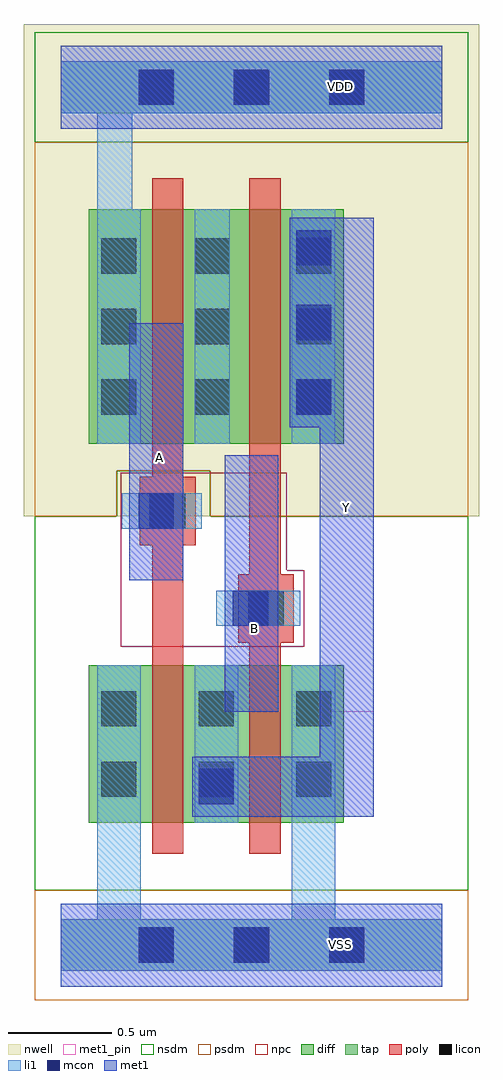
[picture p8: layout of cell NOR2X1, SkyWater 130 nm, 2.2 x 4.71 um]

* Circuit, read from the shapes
.subckt NOR2X1 A B VDD VSS Y
XM1 Y A VSS VSS sky130_fd_pr__nfet_01v8 w=0.76 l=0.15
XM2 VSS B Y VSS sky130_fd_pr__nfet_01v8 w=0.76 l=0.15
XM3 n1 A VDD VDD sky130_fd_pr__pfet_01v8 w=1.13 l=0.15
XM4 Y B n1 VDD sky130_fd_pr__pfet_01v8 w=1.13 l=0.15
.ends

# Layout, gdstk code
from math import pi, radians
import gdstk
lib = gdstk.Library(unit=1e-6, precision=1e-09)
def R(c, l, rs):  # rectangles x0, y0, x1, y1
    for r in rs: c.add(gdstk.rectangle(r[:2], r[2:], *l))
def A(c, l, x, y, w, h, nx, ny, dx, dy):  # array of equal rectangles
    R(c, l, [(x+i*dx, y+j*dy, x+i*dx+w, y+j*dy+h) for i in range(nx) for j in range(ny)])
def P(c, l, *ps):  # polygons
    for p in ps: c.add(gdstk.Polygon(p, *l))
nwell = (64, 20)
diff = (65, 20)
tap = (65, 44)
poly = (66, 20)
licon = (66, 44)
li1 = (67, 20)
mcon = (67, 44)
met1_pin = (68, 16)
met1 = (68, 20)
nsdm = (93, 44)
psdm = (94, 20)
npc = (95, 20)

nfet_01v8_cdns_716492285 = lib.new_cell('nfet_01v8_CDNS_71649228522161')
R(nfet_01v8_cdns_716492285, diff, [(-0.305,0,0,0.76), (0,0,0.15,0.76), (0.15,0,0.415,0.76)])
R(nfet_01v8_cdns_716492285, poly, [(0,-0.15,0.15,-0.095), (0,-0.095,0.15,0), (0,0,0.15,0.76), (0,0.76,0.15,0.855), (0,0.855,0.15,0.91)])
R(nfet_01v8_cdns_716492285, licon, [(-0.245,0.125,-0.075,0.295), (0.225,0.125,0.395,0.295), (-0.245,0.465,-0.075,0.635), (0.225,0.465,0.395,0.635)])
R(nfet_01v8_cdns_716492285, li1, [(-0.265,0,-0.055,0.76), (0.205,0,0.415,0.76)])
R(nfet_01v8_cdns_716492285, nsdm, [(-0.445,-0.13,0.425,0.89)])

pfet_01v8_cdns_716492285 = lib.new_cell('pfet_01v8_CDNS_71649228522162')
R(pfet_01v8_cdns_716492285, nwell, [(-0.235,-0.18,0.635,1.31)])
R(pfet_01v8_cdns_716492285, diff, [(-0.055,0,0,1.13), (0,0,0.15,1.13), (0.15,0,0.455,1.13)])
R(pfet_01v8_cdns_716492285, poly, [(0,-0.15,0.15,-0.095), (0,-0.095,0.15,0), (0,0,0.15,1.13), (0,1.13,0.15,1.225), (0,1.225,0.15,1.28)])
A(pfet_01v8_cdns_716492285, licon, 0.225, 0.14, 0.17, 0.17, 1, 3, 0, 0.34)
R(pfet_01v8_cdns_716492285, li1, [(0.205,0,0.415,1.13)])
R(pfet_01v8_cdns_716492285, psdm, [(-0.065,-0.13,0.595,1.26)])

c_nfet_01v8_cdns_716492285 = lib.new_cell('nfet_01v8_CDNS_71649228522163')
R(c_nfet_01v8_cdns_716492285, diff, [(-0.305,0,0,0.76), (0,0,0.15,0.76), (0.15,0,0.205,0.76)])
R(c_nfet_01v8_cdns_716492285, poly, [(0,-0.15,0.15,-0.095), (0,-0.095,0.15,0), (0,0,0.15,0.76), (0,0.76,0.15,0.855), (0,0.855,0.15,0.91)])
R(c_nfet_01v8_cdns_716492285, licon, [(-0.245,0.125,-0.075,0.295), (-0.245,0.465,-0.075,0.635)])
R(c_nfet_01v8_cdns_716492285, li1, [(-0.265,0,-0.055,0.76)])
R(c_nfet_01v8_cdns_716492285, nsdm, [(-0.445,-0.13,0.215,0.89)])

c_pfet_01v8_cdns_716492285 = lib.new_cell('pfet_01v8_CDNS_71649228522164')
R(c_pfet_01v8_cdns_716492285, nwell, [(-0.485,-0.18,0.595,1.31)])
R(c_pfet_01v8_cdns_716492285, diff, [(-0.305,0,0,1.13), (0,0,0.15,1.13), (0.15,0,0.415,1.13)])
R(c_pfet_01v8_cdns_716492285, poly, [(0,-0.15,0.15,-0.095), (0,-0.095,0.15,0), (0,0,0.15,1.13), (0,1.13,0.15,1.225), (0,1.225,0.15,1.28)])
A(c_pfet_01v8_cdns_716492285, licon, -0.245, 0.14, 0.17, 0.17, 1, 3, 0, 0.34)
R(c_pfet_01v8_cdns_716492285, li1, [(-0.265,0,-0.055,1.13)])
R(c_pfet_01v8_cdns_716492285, psdm, [(-0.445,-0.13,0.425,1.26)])

l1m1_c_cdns_716492285224 = lib.new_cell('L1M1_C_CDNS_716492285224')
R(l1m1_c_cdns_716492285224, li1, [(-0.085,-0.525,0.085,0.525)])
A(l1m1_c_cdns_716492285224, mcon, -0.085, -0.445, 0.17, 0.17, 1, 3, 0, 0.36)
R(l1m1_c_cdns_716492285224, met1, [(-0.115,-0.505,0.115,0.505)])

l1m1_c_cdns_716492285222 = lib.new_cell('L1M1_C_CDNS_716492285222')
R(l1m1_c_cdns_716492285222, li1, [(-0.085,-0.165,0.085,0.165)])
R(l1m1_c_cdns_716492285222, mcon, [(-0.085,-0.085,0.085,0.085)])
R(l1m1_c_cdns_716492285222, met1, [(-0.115,-0.145,0.115,0.145)])

pyl1con_c_cdns_716492285 = lib.new_cell('PYL1CON_C_CDNS_716492285220')
R(pyl1con_c_cdns_716492285, poly, [(-0.135,-0.165,0.135,0.165)])
R(pyl1con_c_cdns_716492285, licon, [(-0.085,-0.085,0.085,0.085)])
R(pyl1con_c_cdns_716492285, npc, [(-0.185,-0.185,0.185,0.185)])

l1m1_c_cdns_716492285223 = lib.new_cell('L1M1_C_CDNS_716492285223')
R(l1m1_c_cdns_716492285223, li1, [(-0.165,-0.085,0.165,0.085)])
R(l1m1_c_cdns_716492285223, mcon, [(-0.085,-0.085,0.085,0.085)])
R(l1m1_c_cdns_716492285223, met1, [(-0.115,-0.145,0.115,0.145)])

licondiff_c_cdns_7164922 = lib.new_cell('LICONDIFF_C_CDNS_7164922852213')
R(licondiff_c_cdns_7164922, diff, [(-0.125,-0.145,0.125,0.145)])
R(licondiff_c_cdns_7164922, licon, [(-0.085,-0.085,0.085,0.085), (-0.085,-0.085,0.085,0.085)])

nor2x1 = lib.new_cell('NOR2X1')
R(nor2x1, nwell, [(-0.18,2.07,2.02,4.305), (-0.18,3.875,2.02,4.445)])
A(nor2x1, licon, 0.375, -0.085, 0.17, 0.17, 3, 2, 0.46, 4.14)
A(nor2x1, mcon, 0.375, -0.085, 0.17, 0.17, 3, 2, 0.46, 4.14)
R(nor2x1, met1_pin, [(0.79,1.125,1.05,2.365), (1.25,1.125,1.51,2.365), (0.33,1.76,0.59,3)])
R(nor2x1, nsdm, [(-0.125,3.875,1.965,4.405), (-0.125,3.93,1.965,4.35)])
P(nor2x1, nsdm, [(1.965,2.07),(0.72,2.07),(0.72,2.29),(0.27,2.29),(0.27,2.07),(-0.125,2.07),(-0.125,0.265),(1.965,0.265)])
R(nor2x1, psdm, [(-0.125,-0.265,1.965,0.265), (-0.125,-0.21,1.965,0.21)])
P(nor2x1, psdm, [(1.965,3.875),(-0.125,3.875),(-0.125,2.07),(0.27,2.07),(0.27,2.29),(0.72,2.29),(0.72,2.07),(1.965,2.07)])
R(nor2x1, npc, [(0.29,1.44,1.09,2.28)])
nor2x1.add(gdstk.FlexPath([(0.515,2.27),(0.515,1.5)], 0.15, ends="flush", simple_path=True, layer=66, datatype=20))  # poly
nor2x1.add(gdstk.FlexPath([(0.985,2.27),(0.985,1.5)], 0.15, ends="flush", simple_path=True, layer=66, datatype=20))  # poly
nor2x1.add(gdstk.FlexPath([(0.73,2.42),(0.73,3.55)], 0.17, ends="flush", simple_path=True, layer=67, datatype=20))  # li1
nor2x1.add(gdstk.FlexPath([(0.46,2.095),(0.68,2.095)], 0.17, ends="flush", simple_path=True, layer=67, datatype=20))  # li1
nor2x1.add(gdstk.FlexPath([(0.28,0.59),(0.28,0)], 0.21, ends="flush", simple_path=True, layer=67, datatype=20))  # li1
nor2x1.add(gdstk.FlexPath([(0,0),(1.84,0)], 0.25, ends="flush", simple_path=True, layer=67, datatype=20))  # li1
nor2x1.add(gdstk.FlexPath([(0.915,1.625),(1.155,1.625)], 0.17, ends="flush", simple_path=True, layer=67, datatype=20))  # li1
nor2x1.add(gdstk.FlexPath([(1.22,0.59),(1.22,0)], 0.21, ends="flush", simple_path=True, layer=67, datatype=20))  # li1
nor2x1.add(gdstk.FlexPath([(0.26,3.55),(0.26,4.14)], 0.17, ends=(0, 0.125), simple_path=True, layer=67, datatype=20))  # li1
nor2x1.add(gdstk.FlexPath([(0,4.14),(1.84,4.14)], 0.25, ends="flush", simple_path=True, layer=67, datatype=20))  # li1
nor2x1.add(gdstk.FlexPath([(0.46,1.76),(0.46,3)], 0.26, ends="flush", simple_path=True, layer=68, datatype=20))  # met1
nor2x1.add(gdstk.FlexPath([(1.38,2.365),(1.38,3.51)], 0.26, ends="flush", simple_path=True, layer=68, datatype=20))  # met1
nor2x1.add(gdstk.FlexPath([(1.38,1.125),(1.38,0.62)], 0.26, ends="flush", simple_path=True, layer=68, datatype=20))  # met1
nor2x1.add(gdstk.FlexPath([(0.92,1.125),(0.92,2.365)], 0.26, ends="flush", simple_path=True, layer=68, datatype=20))  # met1
nor2x1.add(gdstk.FlexPath([(0.69,0.765),(1.25,0.765)], 0.29, ends="flush", simple_path=True, layer=68, datatype=20))  # met1
nor2x1.add(gdstk.FlexPath([(1.38,1.125),(1.38,2.365)], 0.26, ends="flush", simple_path=True, layer=68, datatype=20))  # met1
nor2x1.add(gdstk.FlexPath([(0,0),(1.84,0)], 0.4, ends="flush", simple_path=True, layer=68, datatype=20))  # met1
nor2x1.add(gdstk.FlexPath([(0,4.14),(1.84,4.14)], 0.4, ends="flush", simple_path=True, layer=68, datatype=20))  # met1
nor2x1.add(gdstk.FlexPath([(0,0),(1.84,0)], 0.4, ends="flush", simple_path=True, layer=68, datatype=16))  # met1_pin
nor2x1.add(gdstk.FlexPath([(1.38,2.365),(1.38,3.51)], 0.26, ends="flush", simple_path=True, layer=68, datatype=16))  # met1_pin
nor2x1.add(gdstk.FlexPath([(0,4.14),(1.84,4.14)], 0.4, ends="flush", simple_path=True, layer=68, datatype=16))  # met1_pin
nor2x1.add(gdstk.FlexPath([(0,0),(1.84,0)], 0.25, ends="flush", simple_path=True, layer=65, datatype=44))  # tap
nor2x1.add(gdstk.FlexPath([(0,4.14),(1.84,4.14)], 0.25, ends="flush", simple_path=True, layer=65, datatype=44))  # tap
nor2x1.add(gdstk.Reference(nfet_01v8_cdns_716492285, (0.44,0.59)))
nor2x1.add(gdstk.Reference(pfet_01v8_cdns_716492285, (0.91,2.42)))
nor2x1.add(gdstk.Reference(c_nfet_01v8_cdns_716492285, (1.06,0.59), rotation=pi, x_reflection=True))
nor2x1.add(gdstk.Reference(c_pfet_01v8_cdns_716492285, (0.44,2.42)))
nor2x1.add(gdstk.Reference(l1m1_c_cdns_716492285224, (1.22,3.005)))
nor2x1.add(gdstk.Reference(l1m1_c_cdns_716492285222, (0.75,0.765)))
nor2x1.add(gdstk.Reference(pyl1con_c_cdns_716492285, (0.99,1.625), x_reflection=True))
nor2x1.add(gdstk.Reference(pyl1con_c_cdns_716492285, (0.515,2.095), x_reflection=True))
nor2x1.add(gdstk.Reference(l1m1_c_cdns_716492285223, (0.46,2.095), x_reflection=True))
nor2x1.add(gdstk.Reference(l1m1_c_cdns_716492285223, (0.915,1.625), x_reflection=True))
nor2x1.add(gdstk.Reference(licondiff_c_cdns_7164922, (0.73,2.645)))
nor2x1.add(gdstk.Reference(licondiff_c_cdns_7164922, (0.73,3.325)))
nor2x1.add(gdstk.Reference(licondiff_c_cdns_7164922, (0.73,2.985)))
nor2x1.add(gdstk.Label('VSS', (1.35,0.005), layer=68, texttype=5))
nor2x1.add(gdstk.Label('B', (0.935,1.53), layer=68, texttype=5))
nor2x1.add(gdstk.Label('A', (0.475,2.355), layer=68, texttype=5))
nor2x1.add(gdstk.Label('Y', (1.38,2.11), layer=68, texttype=5))
nor2x1.add(gdstk.Label('VDD', (1.35,4.145), layer=68, texttype=5))

lib.write_gds('NOR2X1.gds')
